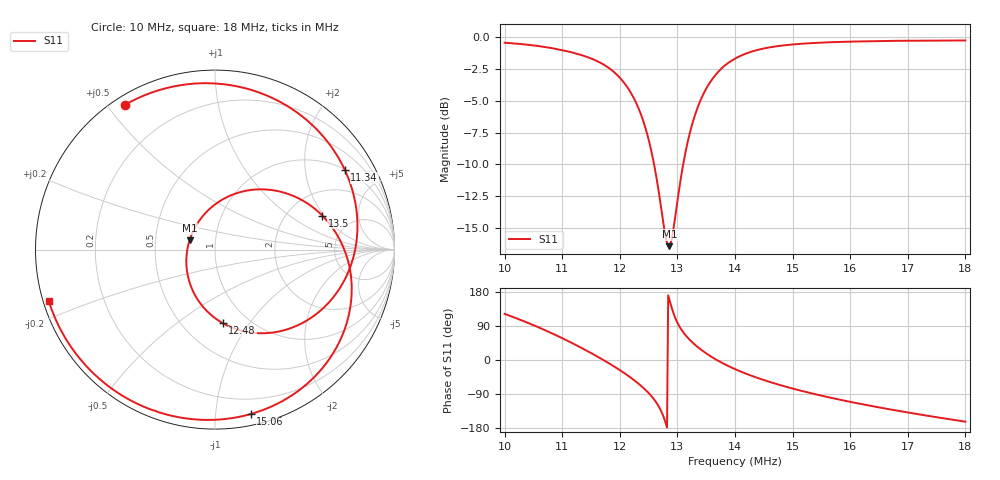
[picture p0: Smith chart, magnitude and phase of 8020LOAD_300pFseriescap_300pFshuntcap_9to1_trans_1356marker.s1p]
!File created by NanoVNA
# Hz S RI R 50
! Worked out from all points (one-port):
!   401 points, 10 MHz to 18 MHz, reference 50 ohm
!   lowest |S11| = -16.4 dB at 12.86 MHz (marker M1), VSWR 1.36, Z = 37.4 + j4.02 ohm
!   |S11| at or under -10 dB: 12.6 MHz to 13.1 MHz (504.7 kHz wide, 3.93 % of centre)
!   S11 on the Smith chart (normalised r, x): 10 MHz: 0.03, +0.56; 11.34 MHz: 1.02, +3.25; 12.48 MHz: 0.77, -0.76; 13.5 MHz: 3.07, +1.92; 15.06 MHz: 0.08, -1.24; 18 MHz: 0.02, -0.15
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1e7  -0.4996 0.8078
1.03e7  -0.2334 0.9083
1.054e7  0.00909 0.925
1.078e7  0.2596 0.87
1.1e7  0.4754 0.7504
1.134e7  0.7236 0.4436
1.152e7  0.786 0.2364
1.168e7  0.7879 0.0419
1.184e7  0.7329 -0.1467
1.2e7  0.6193 -0.3104
1.226e7  0.328 -0.4613
1.248e7  0.0438 -0.4102
1.268e7  -0.1346 -0.2032
1.28e7  -0.1586 -0.0335
1.286e7  -0.1417 0.0525
1.3e7  -0.0326 0.2246
1.312e7  0.1175 0.3133
1.324e7  0.2871 0.3348
1.35e7  0.5981 0.1891
1.374e7  0.7405 -0.0605
1.4e7  0.7513 -0.3354
1.448e7  0.5555 -0.7079
1.5e7  0.2364 -0.9048
1.506e7  0.1987 -0.9164
1.55e7  -0.0678 -0.9485
1.6e7  -0.3336 -0.8972
1.7e7  -0.7245 -0.6408
1.8e7  -0.9259 -0.2878
